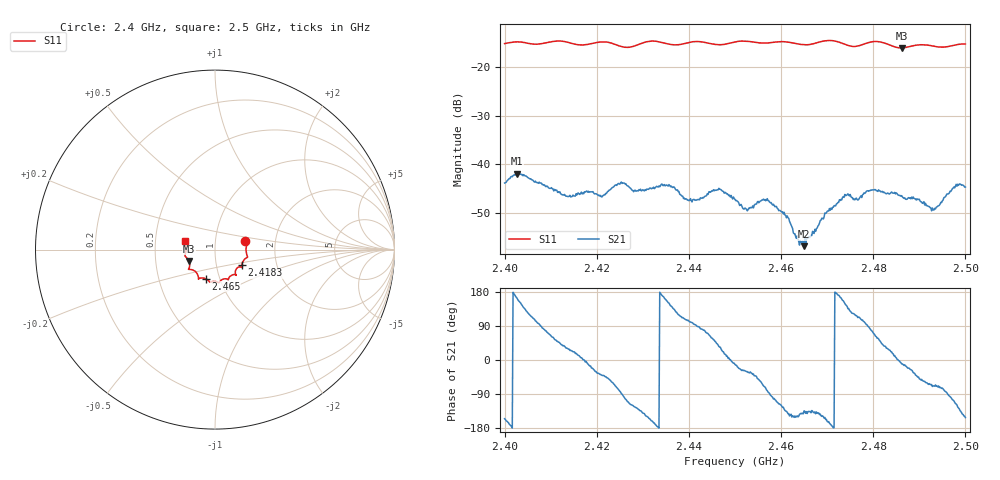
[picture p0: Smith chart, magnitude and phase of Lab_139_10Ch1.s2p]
# Hz S RI R 50
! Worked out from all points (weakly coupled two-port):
!   601 points, 2.4 GHz to 2.5 GHz, reference 50 ohm
!   highest |S21| = -41.96 dB at 2.4027 GHz (marker M1); lowest = -56.9 dB at 2.465 GHz (marker M2)
!   lowest |S11| = -16.0 dB at 2.4862 GHz (marker M3), VSWR 1.38, Z = 37.1 - j4.84 ohm
!   |S11| at or under -10 dB: start of sweep to end of sweep
!   S12 and S22 are empty: the file has one direction only
!   S11 on the Smith chart (normalised r, x): 2.4 GHz: 1.40, +0.13; 2.4183 GHz: 1.33, -0.24; 2.465 GHz: 0.86, -0.29; 2.5 GHz: 0.71, +0.07
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2.4e9  0.169 0.0458  -0.00581 -0.00271  0 0  0 0
2.402667e9  0.1797 0.0337  -0.00766 0.00225  0 0  0 0
2.413333e9  0.1768 -0.0449  0.004 0.00243  0 0  0 0
2.416667e9  0.1551 -0.0685  0.00514 0.000547  0 0  0 0
2.418333e9  0.1499 -0.087  0.00499 -0.00126  0 0  0 0
2.421333e9  0.1523 -0.1004  0.00358 -0.00313  0 0  0 0
2.4255e9  0.1297 -0.098  -5.09e-05 -0.00634  0 0  0 0
2.428167e9  0.1134 -0.1205  -0.00294 -0.00449  0 0  0 0
2.433333e9  0.1169 -0.1414  -0.00581 -0.000308  0 0  0 0
2.440167e9  0.0754 -0.1643  -0.000778 0.00418  0 0  0 0
2.4465e9  0.0484 -0.1636  0.00459 0.0033  0 0  0 0
2.45e9  0.0254 -0.1807  0.00425 -0.000899  0 0  0 0
2.452333e9  0.0205 -0.1846  0.00304 -0.00173  0 0  0 0
2.457333e9  -0.0126 -0.1778  0.000279 -0.00419  0 0  0 0
2.465e9  -0.0526 -0.1622  -0.000995 -0.00103  0 0  0 0
2.466667e9  -0.0713 -0.1578  -0.00126 -0.00134  0 0  0 0
2.474e9  -0.0957 -0.1421  -0.00393 0.00267  0 0  0 0
2.483333e9  -0.142 -0.096  0.00439 0.00235  0 0  0 0
2.486167e9  -0.1446 -0.0636  0.00468 -0.000852  0 0  0 0
2.493167e9  -0.1636 -0.0178  0.00124 -0.00314  0 0  0 0
2.497833e9  -0.1662 0.0347  -0.0025 -0.00538  0 0  0 0
2.5e9  -0.167 0.0473  -0.00514 -0.00273  0 0  0 0
